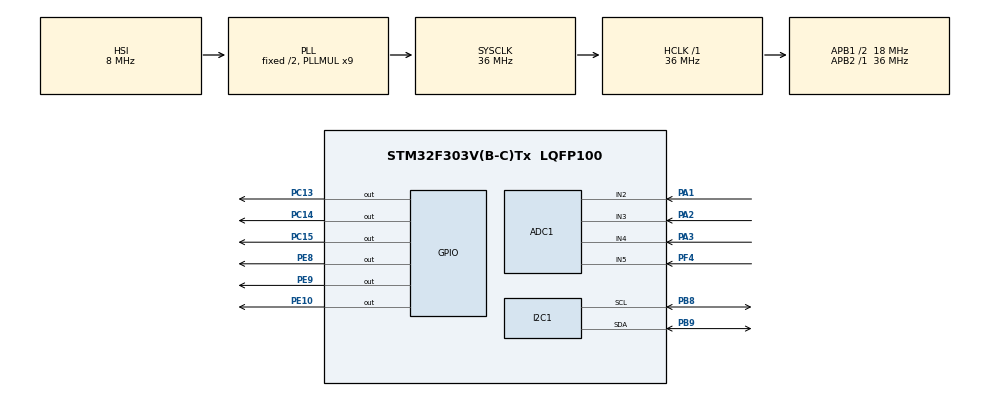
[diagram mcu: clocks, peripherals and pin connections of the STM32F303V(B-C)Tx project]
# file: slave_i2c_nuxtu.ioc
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ADC1.Channel-0\#ChannelRegularConversion=ADC_CHANNEL_2
ADC1.Channel-1\#ChannelRegularConversion=ADC_CHANNEL_3
ADC1.Channel-2\#ChannelRegularConversion=ADC_CHANNEL_4
ADC1.Channel-3\#ChannelRegularConversion=ADC_CHANNEL_5
ADC1.Channel-4\#ChannelRegularConversion=ADC_CHANNEL_TEMPSENSOR
ADC1.ContinuousConvMode=ENABLE
ADC1.DMAContinuousRequests=DISABLE
ADC1.NbrOfConversion=5
ADC1.NbrOfConversionFlag=1
ADC1.Offset-0\#ChannelRegularConversion=0
ADC1.Offset-1\#ChannelRegularConversion=0
ADC1.Offset-2\#ChannelRegularConversion=0
ADC1.Offset-3\#ChannelRegularConversion=0
ADC1.Offset-4\#ChannelRegularConversion=0
ADC1.OffsetNumber-0\#ChannelRegularConversion=ADC_OFFSET_NONE
ADC1.OffsetNumber-1\#ChannelRegularConversion=ADC_OFFSET_NONE
ADC1.OffsetNumber-2\#ChannelRegularConversion=ADC_OFFSET_NONE
ADC1.OffsetNumber-3\#ChannelRegularConversion=ADC_OFFSET_NONE
ADC1.OffsetNumber-4\#ChannelRegularConversion=ADC_OFFSET_NONE
ADC1.Rank-0\#ChannelRegularConversion=1
ADC1.Rank-1\#ChannelRegularConversion=2
ADC1.Rank-2\#ChannelRegularConversion=3
ADC1.Rank-3\#ChannelRegularConversion=4
ADC1.Rank-4\#ChannelRegularConversion=5
ADC1.SamplingTime-0\#ChannelRegularConversion=ADC_SAMPLETIME_7CYCLES_5
ADC1.SamplingTime-1\#ChannelRegularConversion=ADC_SAMPLETIME_7CYCLES_5
ADC1.SamplingTime-2\#ChannelRegularConversion=ADC_SAMPLETIME_7CYCLES_5
ADC1.SamplingTime-3\#ChannelRegularConversion=ADC_SAMPLETIME_7CYCLES_5
ADC1.SamplingTime-4\#ChannelRegularConversion=ADC_SAMPLETIME_181CYCLES_5
ADC1.master=1
Dma.ADC1.0.Direction=DMA_PERIPH_TO_MEMORY
Dma.ADC1.0.Instance=DMA1_Channel1
Dma.ADC1.0.MemDataAlignment=DMA_MDATAALIGN_WORD
Dma.ADC1.0.MemInc=DMA_MINC_ENABLE
Dma.ADC1.0.Mode=DMA_CIRCULAR
Dma.ADC1.0.PeriphDataAlignment=DMA_PDATAALIGN_WORD
Dma.ADC1.0.PeriphInc=DMA_PINC_DISABLE
Dma.ADC1.0.Priority=DMA_PRIORITY_LOW
Dma.Request0=ADC1
I2C1.NoStretchMode=I2C_NOSTRETCH_ENABLE
I2C1.OwnAddress=0x0D
Mcu.Family=STM32F3
Mcu.Name=STM32F303V(B-C)Tx
Mcu.Package=LQFP100
NVIC.DMA1_Channel1_IRQn=true\:0\:0\:false\:false\:true\:false\:true
NVIC.I2C1_ER_IRQn=true\:0\:0\:false\:false\:true\:true\:true
NVIC.I2C1_EV_IRQn=true\:0\:0\:false\:false\:true\:true\:true
NVIC.PriorityGroup=NVIC_PRIORITYGROUP_4
PA1.Mode=IN2-Single-Ended
PA1.Signal=ADC1_IN2
PA13.Mode=Serial_Wire
PA13.Signal=SYS_JTMS-SWDIO
PA14.Mode=Serial_Wire
PA14.Signal=SYS_JTCK-SWCLK
PA2.Mode=IN3-Single-Ended
PA2.Signal=ADC1_IN3
PA3.Mode=IN4-Single-Ended
PA3.Signal=ADC1_IN4
PB8.Mode=I2C
PB8.Signal=I2C1_SCL
PB9.Mode=I2C
PB9.Signal=I2C1_SDA
PC13.Signal=GPIO_Output
PC14-OSC32_IN.Signal=GPIO_Output
PC15-OSC32_OUT.Signal=GPIO_Output
PE10.Signal=GPIO_Output
PE8.Signal=GPIO_Output
PE9.Signal=GPIO_Output
PF0-OSC_IN.Mode=HSE-External-Oscillator
PF0-OSC_IN.Signal=RCC_OSC_IN
PF1-OSC_OUT.Mode=HSE-External-Oscillator
PF1-OSC_OUT.Signal=RCC_OSC_OUT
PF4.Mode=IN5-Single-Ended
PF4.Signal=ADC1_IN5
ProjectManager.HeapSize=0x200
ProjectManager.StackSize=0x400
ProjectManager.TargetToolchain=STM32CubeIDE
RCC.AHBFreq_Value=36000000
RCC.APB1CLKDivider=RCC_HCLK_DIV2
RCC.APB1Freq_Value=18000000
RCC.APB1TimFreq_Value=36000000
RCC.APB2Freq_Value=36000000
RCC.APB2TimFreq_Value=36000000
RCC.CortexFreq_Value=36000000
RCC.HCLKFreq_Value=36000000
RCC.HSE_VALUE=8000000
RCC.HSI_VALUE=8000000
RCC.LSE_VALUE=32768
RCC.PLLMUL=RCC_PLL_MUL9
RCC.SYSCLKFreq_VALUE=36000000
RCC.SYSCLKSourceVirtual=RCC_SYSCLKSOURCE_PLLCLK
RCC.USBFreq_Value=36000000
VP_ADC1_TempSens_Input.Mode=IN-TempSens
board=custom

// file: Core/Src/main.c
/* USER CODE BEGIN Header */
/**
  ******************************************************************************
  * @file           : main.c
  * @brief          : Main program body
  ******************************************************************************
  * @attention
  *
  * <h2><center>&copy; Copyright (c) 2022 STMicroelectronics.
  * All rights reserved.</center></h2>
  *
  * This software component is licensed by ST under BSD 3-Clause license,
  * the "License"; You may not use this file except in compliance with the
  * License. You may obtain a copy of the License at:
  *                        opensource.org/licenses/BSD-3-Clause
  *
  ******************************************************************************
  */
/* USER CODE END Header */
#include "main.h"

ADC_HandleTypeDef hadc1;
DMA_HandleTypeDef hdma_adc1;

I2C_HandleTypeDef hi2c1;

/* USER CODE BEGIN PV */

// Define to activate debug mode with GPIO signal on code
//#define DEBUG_MODE

////// STATIC COMMANDS TO REQUEST DATA //////

#define REQUEST_DETECTION 0
#define REQUEST_DEVICE_TYPE 1
#define REQUEST_DEVICE_METADATA_BASIC 2
#define REQUEST_DEVICE_METADATA_COMPLETE 3
#define REQUEST_DEVICE_METADATA_VOLTAGE_DATA 4

////// STATIC INFORMATION ABOUT DEVICE //////

// REQUEST_DETECTION
uint8_t DETECTION_VALUE = 0x00;

// REQUEST_DEVICE_TYPE
uint8_t DEVICE_TYPE = 0x00;

// REQUEST_DEVICE_METADATA_BASIC
uint8_t BASIC_DATA[14] = {0x00, 0x0A, 3, '2','0','/','0','1','/','2','0','2','2', 0x05}; // BASIC_DATA[14] = {PCB_ID[15:8], PCB_ID[7:0], NUMBER_OF_SENSORS, MANUFACTURE_DATE, PCB_CAPABILITES};

// Defines for actual environmental sensors in the system
//#define TEMP
#define PCB_TEMP
//#define HUMD
#define PRES

// REQUEST_DEVICE_METADATA_COMPLETE
#define gas_sensors 3 // at least one gas sensor in the array

float n1_voltage = 0.0; // mV for n1 gas sensor
float n2_voltage = 0.0; // mV for n2 gas sensor
float n3_voltage = 0.0; // mV for n3 gas sensor

typedef struct gas_sensor
{
	unsigned char name[11];
	unsigned char type[14];
	unsigned char main_gas[20];
	uint16_t response_time;
} gas_sensor;

uint8_t COMPLETE_DATA[47*gas_sensors];
uint8_t COMPLETE_DATA1[47];
uint8_t COMPLETE_DATA2[47];
uint8_t COMPLETE_DATA3[47];

// REQUEST_DEVICE_METADATA_VOLTAGE_DATA
#define env_sensors 2 // environmental sensors

float VSENSE = 3.3/4095; // constant to conversions of ADC value to V
float V25 = 0.76; // Voltage of internal temperature sensor at 25°C
float Avg_slope = 0.0025; // V/degC

float pcb_temperature = 0.0; // initialized to return °C of PCB temperature
float temperature = 0.0; // initialized to return °C of environment temperature
float humidity = 0.0; // initialized to return %RH of environment humidity
float pressure = 0.0; // initialized to return kPa of absolute pressure

// OTHER VARIABLES
uint8_t last_command_received = 0;
uint8_t ERROR_CALL = 0;

/* USER CODE END PV */

void SystemClock_Config(void);
static void MX_GPIO_Init(void);
static void MX_DMA_Init(void);
static void MX_ADC1_Init(void);
static void MX_I2C1_Init(void);

/* USER CODE BEGIN 0 */

// function to check address matching
void HAL_I2C_AddrCallback(I2C_HandleTypeDef *hi2c, uint8_t TransferDirection, uint16_t AddrMatchCode)
{
	if ( TransferDirection == I2C_DIRECTION_TRANSMIT ) // Master sends a write instruction
	{
		// read byte sent by master (this is the request information command)
		HAL_I2C_Slave_Seq_Receive_IT(hi2c, &last_command_received, sizeof(last_command_received), I2C_NEXT_FRAME);
	}

	else // Master sends a read instruction
	{
		switch(last_command_received)
		{
			case REQUEST_DETECTION:
			{
				// the master did not request a value, it is just for detection (offset = 0)
				HAL_I2C_Slave_Seq_Transmit_IT(hi2c, &DETECTION_VALUE, sizeof(DETECTION_VALUE), I2C_NEXT_FRAME);
				break;
			}

			case REQUEST_DEVICE_TYPE:
			{
				// SEND DATA
				HAL_I2C_Slave_Seq_Transmit_IT(hi2c, &DEVICE_TYPE, sizeof(DEVICE_TYPE), I2C_NEXT_FRAME);
				break;
			}

			case REQUEST_DEVICE_METADATA_BASIC:
			{
				// SEND DATA
				HAL_I2C_Slave_Seq_Transmit_IT(hi2c, BASIC_DATA, sizeof(BASIC_DATA), I2C_NEXT_FRAME);
				break;
			}

			case REQUEST_DEVICE_METADATA_COMPLETE:
			{
				// SEND DATA FOR EACH GAS SENSOR
				HAL_I2C_Slave_Seq_Transmit_IT(hi2c, COMPLETE_DATA, sizeof(COMPLETE_DATA), I2C_NEXT_FRAME);
				break;
			}

			case REQUEST_DEVICE_METADATA_VOLTAGE_DATA:
			{
				// SEND ENVIRONMENTAL VARIABLES DATA
				HAL_I2C_Slave_Seq_Transmit_IT(hi2c, (uint8_t*)&temperature, 16+4*gas_sensors, I2C_NEXT_FRAME); // treat float values as a buffer to send through I2C
				HAL_I2C_Slave_Seq_Transmit_IT(hi2c, (uint8_t*)&pcb_temperature, 16+4*gas_sensors, I2C_NEXT_FRAME); // treat float values as a buffer to send through I2C
				HAL_I2C_Slave_Seq_Transmit_IT(hi2c, (uint8_t*)&humidity, 16+4*gas_sensors, I2C_NEXT_FRAME); // treat float values as a buffer to send through I2C
				HAL_I2C_Slave_Seq_Transmit_IT(hi2c, (uint8_t*)&pressure, 16+4*gas_sensors, I2C_NEXT_FRAME); // treat float values as a buffer to send through I2C

				// SEND GAS SENSORS VOLTAGES
				HAL_I2C_Slave_Seq_Transmit_IT(hi2c, (uint8_t*)&n1_voltage, 16+4*gas_sensors, I2C_NEXT_FRAME); // treat float values as a buffer to send through I2C
				HAL_I2C_Slave_Seq_Transmit_IT(hi2c, (uint8_t*)&n2_voltage, 16+4*gas_sensors, I2C_NEXT_FRAME); // treat float values as a buffer to send through I2C
				HAL_I2C_Slave_Seq_Transmit_IT(hi2c, (uint8_t*)&n3_voltage, 16+4*gas_sensors, I2C_NEXT_FRAME); // treat float values as a buffer to send through I2C
				break;
			}

			default:
			{
				break;
			}
		}
		last_command_received = 0; // to repeat detection
	}
}

// function to put the slave ready again when listen mode finish
void HAL_I2C_ListenCpltCallback(I2C_HandleTypeDef *hi2c)
{
	HAL_I2C_EnableListen_IT(hi2c); // slave is ready again
}

#ifdef DEBUG_MODE
// function to detect complete reception of information
void HAL_I2C_SlaveRxCpltCallback(I2C_HandleTypeDef *hi2c)
{
	HAL_GPIO_TogglePin(GPIOC, GPIO_PIN_14); // just for quick debug
}

// function to detect complete transmission of information
void HAL_I2C_SlaveTxCpltCallback(I2C_HandleTypeDef *hi2c)
{
	HAL_GPIO_TogglePin(GPIOC, GPIO_PIN_14); // just for quick debug
}

// function to manage i2c errors
void HAL_I2C_ErrorCallback(I2C_HandleTypeDef *hi2c)
{
	if (HAL_I2C_GetError(hi2c) == HAL_I2C_ERROR_AF ) // Error obtained in debug, due to no clock stretching
	{
		ERROR_CALL = 1;
	}
	if (HAL_I2C_GetError(hi2c) == HAL_I2C_ERROR_OVR ) // Error obtained in debug, due to no clock stretching
	{
		ERROR_CALL = 2;
	}
	if (HAL_I2C_GetError(hi2c) == HAL_I2C_ERROR_TIMEOUT ) // Error obtained in debug, due to no clock stretching
	{
		ERROR_CALL = 3;
	}
}
#endif

/* USER CODE END 0 */

int main(void)
{

  /* MCU Configuration--------------------------------------------------------*/

  /* Reset of all peripherals, Initializes the Flash interface and the Systick. */
  HAL_Init();

  /* Configure the system clock */
  SystemClock_Config();

  /* Initialize all configured peripherals */
  MX_GPIO_Init();
  MX_DMA_Init();
  MX_ADC1_Init();
  MX_I2C1_Init();
  /* USER CODE BEGIN 2 */

  HAL_I2C_EnableListen_IT(&hi2c1); // to activate the slave mode of I2C

  #ifdef DEBUG_MODE
  HAL_GPIO_WritePin(GPIOC, GPIO_PIN_13, RESET);
  HAL_GPIO_WritePin(GPIOC, GPIO_PIN_14, RESET);
  HAL_GPIO_WritePin(GPIOC, GPIO_PIN_15, RESET);

  HAL_GPIO_WritePin(GPIOE, GPIO_PIN_8, RESET);
  HAL_GPIO_WritePin(GPIOE, GPIO_PIN_9, RESET);
  HAL_GPIO_WritePin(GPIOE, GPIO_PIN_10, RESET);
  #endif

  uint8_t total_adc_sensors = env_sensors + gas_sensors; // total ADC channels to be used for analog sensors

  uint32_t adc_values[total_adc_sensors]; // to store all read ADC values, in channel name order (channel1 -> adc[0], ..., temp -> adc[total-1])

  //PA1 -> pressure
  //PA2 -> FEC
  //PA3 -> CO
  //PF4 -> 4-NOC

  HAL_ADC_Start_DMA(&hadc1, adc_values, sizeof(adc_values)); // start the ADC in DMA mode

  gas_sensor N1 = {"FECS40-1000", "Electroquimico", "Monoxido de carbono", 30};
  gas_sensor N2 = {"CO-CE-10000", "Electroquimico", "Monoxido de carbono", 75};
  gas_sensor N3 = {"4-NO2-20000", "Electroquimico", "Dioxido de nitrogeno", 60};
  gas_sensor N4 = {"X-XXX-XXXXX", "XXXXXXXXXXXXX", "XXXXXXXXXXXXXXXXXXX", 0}; // dummy value

  int i = 0;
  for (int k = 0; k < 11; k++)
  {
	  COMPLETE_DATA1[i] = N1.name[k];
	  i++;
  }
  for (int k = 0; k < 14; k++)
  {
	  COMPLETE_DATA1[i] = N1.type[k];
	  i++;
  }
  for (int k = 0; k < 20; k++)
  {
	  COMPLETE_DATA1[i] = N1.main_gas[k];
	  i++;
  }

  COMPLETE_DATA1[i] =  (N1.response_time >> 8) & 0xFF;
  i++;
  COMPLETE_DATA1[i] = (N1.response_time) & 0xFF;

  i = 0;
  for (int k = 0; k < 11; k++)
  {
	  COMPLETE_DATA2[i] = N2.name[k];
	  i++;
  }
  for (int k = 0; k < 14; k++)
  {
	  COMPLETE_DATA2[i] = N2.type[k];
	  i++;
  }
  for (int k = 0; k < 20; k++)
  {
	  COMPLETE_DATA2[i] = N2.main_gas[k];
	  i++;
  }

  COMPLETE_DATA2[i] = (N2.response_time >> 8) & 0xFF;
  i++;
  COMPLETE_DATA2[i] = (N2.response_time) & 0xFF;

  i = 0;
  for (int k = 0; k < 11; k++)
  {
	  COMPLETE_DATA3[i] = N3.name[k];
	  i++;
  }
  for (int k = 0; k < 14; k++)
  {
	  COMPLETE_DATA3[i] = N3.type[k];
	  i++;
  }
  for (int k = 0; k < 20; k++)
  {
	  COMPLETE_DATA3[i] = N3.main_gas[k];
	  i++;
  }

  COMPLETE_DATA3[i] =  (N3.response_time >> 8) & 0xFF;
  i++;
  COMPLETE_DATA3[i] =  (N3.response_time) & 0xFF;

  int j = 0;
  for (int i = 0; i < 47; i++)
  {
	  COMPLETE_DATA[j] = COMPLETE_DATA1[i];
	  j++;
  }
  for (int i = 0; i < 47; i++)
  {
	  COMPLETE_DATA[j] = COMPLETE_DATA2[i];
	  j++;
  }
  for (int i = 0; i < 47; i++)
  {
	  COMPLETE_DATA[j] = COMPLETE_DATA3[i];
	  j++;
  }

  /* USER CODE END 2 */

  /* Infinite loop */
  /* USER CODE BEGIN WHILE */
  while (1)
  {
	  ////// COMPUTATION OF ENVIRONMENTAL VALUES //////

	  #ifdef TEMP
	  temperature = -66.875 + 218.75*(adc_values[0]/4095); // formula taken from datasheet of SHT31-ARP-B pag.8 (°C -45 -> +125)
	  #endif

	  #ifdef HUMD
	  humidity = -12.5 + 125*(adc_values[1]/4095); // formula taken from datasheet of SHT31-ARP-B pag.8 (%RH 0 -> 100)
	  #endif

	  #ifdef PRES
	  pressure = ((adc_values[0]/4095) - 0.05069)/0.00293; // formula derived from datasheet of KP229E2701 pag.12
	  #endif

	  #ifdef PCB_TEMP
	  pcb_temperature = ((V25 - adc_values[total_adc_sensors-1]*VSENSE)/ Avg_slope) + 25; // formula taken from reference manual of STM32F303VCT6 pag.373
	  #endif

	  ////// COMPUTATION OF GAS SENSORS VOLTAGES //////

	  n1_voltage = adc_values[1]*VSENSE*1000; // mV from n_1 gas sensor
	  n2_voltage = adc_values[2]*VSENSE*1000; // mV from n_2 gas sensor
	  n3_voltage = adc_values[3]*VSENSE*1000; // mV from n_3 gas sensor

	  #ifdef DEBUG_MODE
	  HAL_GPIO_TogglePin(GPIOE, GPIO_PIN_8); // blink led to know that main program is running
	  #endif

	  HAL_Delay(50); // dummy delay, can be changed to a strategy to compute ADC values with callback

    /* USER CODE END WHILE */

  }
}

void SystemClock_Config(void)
{
  RCC_OscInitTypeDef RCC_OscInitStruct = {0};
  RCC_ClkInitTypeDef RCC_ClkInitStruct = {0};
  RCC_PeriphCLKInitTypeDef PeriphClkInit = {0};

  /** Initializes the RCC Oscillators according to the specified parameters
  * in the RCC_OscInitTypeDef structure.
  */
  RCC_OscInitStruct.OscillatorType = RCC_OSCILLATORTYPE_HSI;
  RCC_OscInitStruct.HSIState = RCC_HSI_ON;
  RCC_OscInitStruct.HSICalibrationValue = RCC_HSICALIBRATION_DEFAULT;
  RCC_OscInitStruct.PLL.PLLState = RCC_PLL_ON;
  RCC_OscInitStruct.PLL.PLLSource = RCC_PLLSOURCE_HSI;
  RCC_OscInitStruct.PLL.PLLMUL = RCC_PLL_MUL9;
  if (HAL_RCC_OscConfig(&RCC_OscInitStruct) != HAL_OK)
  {
    Error_Handler();
  }
  /** Initializes the CPU, AHB and APB buses clocks
  */
  RCC_ClkInitStruct.ClockType = RCC_CLOCKTYPE_HCLK|RCC_CLOCKTYPE_SYSCLK
                              |RCC_CLOCKTYPE_PCLK1|RCC_CLOCKTYPE_PCLK2;
  RCC_ClkInitStruct.SYSCLKSource = RCC_SYSCLKSOURCE_PLLCLK;
  RCC_ClkInitStruct.AHBCLKDivider = RCC_SYSCLK_DIV1;
  RCC_ClkInitStruct.APB1CLKDivider = RCC_HCLK_DIV2;
  RCC_ClkInitStruct.APB2CLKDivider = RCC_HCLK_DIV1;

  if (HAL_RCC_ClockConfig(&RCC_ClkInitStruct, FLASH_LATENCY_1) != HAL_OK)
  {
    Error_Handler();
  }
  PeriphClkInit.PeriphClockSelection = RCC_PERIPHCLK_I2C1|RCC_PERIPHCLK_ADC12;
  PeriphClkInit.Adc12ClockSelection = RCC_ADC12PLLCLK_DIV1;
  PeriphClkInit.I2c1ClockSelection = RCC_I2C1CLKSOURCE_HSI;
  if (HAL_RCCEx_PeriphCLKConfig(&PeriphClkInit) != HAL_OK)
  {
    Error_Handler();
  }
}

static void MX_ADC1_Init(void)
{

  ADC_MultiModeTypeDef multimode = {0};
  ADC_ChannelConfTypeDef sConfig = {0};

  /** Common config
  */
  hadc1.Instance = ADC1;
  hadc1.Init.ClockPrescaler = ADC_CLOCK_ASYNC_DIV1;
  hadc1.Init.Resolution = ADC_RESOLUTION_12B;
  hadc1.Init.ScanConvMode = ADC_SCAN_ENABLE;
  hadc1.Init.ContinuousConvMode = ENABLE;
  hadc1.Init.DiscontinuousConvMode = DISABLE;
  hadc1.Init.ExternalTrigConvEdge = ADC_EXTERNALTRIGCONVEDGE_NONE;
  hadc1.Init.ExternalTrigConv = ADC_SOFTWARE_START;
  hadc1.Init.DataAlign = ADC_DATAALIGN_RIGHT;
  hadc1.Init.NbrOfConversion = 5;
  hadc1.Init.DMAContinuousRequests = ENABLE;
  hadc1.Init.EOCSelection = ADC_EOC_SINGLE_CONV;
  hadc1.Init.LowPowerAutoWait = DISABLE;
  hadc1.Init.Overrun = ADC_OVR_DATA_OVERWRITTEN;
  if (HAL_ADC_Init(&hadc1) != HAL_OK)
  {
    Error_Handler();
  }
  /** Configure the ADC multi-mode
  */
  multimode.Mode = ADC_MODE_INDEPENDENT;
  if (HAL_ADCEx_MultiModeConfigChannel(&hadc1, &multimode) != HAL_OK)
  {
    Error_Handler();
  }
  /** Configure Regular Channel
  */
  sConfig.Channel = ADC_CHANNEL_2;
  sConfig.Rank = ADC_REGULAR_RANK_1;
  sConfig.SingleDiff = ADC_SINGLE_ENDED;
  sConfig.SamplingTime = ADC_SAMPLETIME_1CYCLE_5;
  sConfig.OffsetNumber = ADC_OFFSET_NONE;
  sConfig.Offset = 0;
  if (HAL_ADC_ConfigChannel(&hadc1, &sConfig) != HAL_OK)
  {
    Error_Handler();
  }
  /** Configure Regular Channel
  */
  sConfig.Channel = ADC_CHANNEL_3;
  sConfig.Rank = ADC_REGULAR_RANK_2;
  if (HAL_ADC_ConfigChannel(&hadc1, &sConfig) != HAL_OK)
  {
    Error_Handler();
  }
  /** Configure Regular Channel
  */
  sConfig.Channel = ADC_CHANNEL_4;
  sConfig.Rank = ADC_REGULAR_RANK_3;
  if (HAL_ADC_ConfigChannel(&hadc1, &sConfig) != HAL_OK)
  {
    Error_Handler();
  }
  /** Configure Regular Channel
  */
  sConfig.Channel = ADC_CHANNEL_5;
  sConfig.Rank = ADC_REGULAR_RANK_4;
  if (HAL_ADC_ConfigChannel(&hadc1, &sConfig) != HAL_OK)
  {
    Error_Handler();
  }
  /** Configure Regular Channel
  */
  sConfig.Channel = ADC_CHANNEL_TEMPSENSOR;
  sConfig.Rank = ADC_REGULAR_RANK_5;
  sConfig.SamplingTime = ADC_SAMPLETIME_601CYCLES_5;
  if (HAL_ADC_ConfigChannel(&hadc1, &sConfig) != HAL_OK)
  {
    Error_Handler();
  }

}

static void MX_I2C1_Init(void)
{

  hi2c1.Instance = I2C1;
  hi2c1.Init.Timing = 0x2000090E;
  hi2c1.Init.OwnAddress1 = 26;
  hi2c1.Init.AddressingMode = I2C_ADDRESSINGMODE_7BIT;
  hi2c1.Init.DualAddressMode = I2C_DUALADDRESS_DISABLE;
  hi2c1.Init.OwnAddress2 = 0;
  hi2c1.Init.OwnAddress2Masks = I2C_OA2_NOMASK;
  hi2c1.Init.GeneralCallMode = I2C_GENERALCALL_DISABLE;
  hi2c1.Init.NoStretchMode = I2C_NOSTRETCH_DISABLE;
  if (HAL_I2C_Init(&hi2c1) != HAL_OK)
  {
    Error_Handler();
  }
  /** Configure Analogue filter
  */
  if (HAL_I2CEx_ConfigAnalogFilter(&hi2c1, I2C_ANALOGFILTER_ENABLE) != HAL_OK)
  {
    Error_Handler();
  }
  /** Configure Digital filter
  */
  if (HAL_I2CEx_ConfigDigitalFilter(&hi2c1, 0) != HAL_OK)
  {
    Error_Handler();
  }

}

static void MX_DMA_Init(void)
{

  /* DMA controller clock enable */
  __HAL_RCC_DMA1_CLK_ENABLE();

  /* DMA interrupt init */
  /* DMA1_Channel1_IRQn interrupt configuration */
  HAL_NVIC_SetPriority(DMA1_Channel1_IRQn, 0, 0);
  HAL_NVIC_EnableIRQ(DMA1_Channel1_IRQn);

}

static void MX_GPIO_Init(void)
{
  GPIO_InitTypeDef GPIO_InitStruct = {0};

  /* GPIO Ports Clock Enable */
  __HAL_RCC_GPIOC_CLK_ENABLE();
  __HAL_RCC_GPIOF_CLK_ENABLE();
  __HAL_RCC_GPIOA_CLK_ENABLE();
  __HAL_RCC_GPIOE_CLK_ENABLE();
  __HAL_RCC_GPIOB_CLK_ENABLE();

  /*Configure GPIO pin Output Level */
  HAL_GPIO_WritePin(GPIOC, GPIO_PIN_13|GPIO_PIN_14|GPIO_PIN_15, GPIO_PIN_RESET);

  /*Configure GPIO pin Output Level */
  HAL_GPIO_WritePin(GPIOE, GPIO_PIN_8|GPIO_PIN_9|GPIO_PIN_10, GPIO_PIN_RESET);

  /*Configure GPIO pins : PC13 PC14 PC15 */
  GPIO_InitStruct.Pin = GPIO_PIN_13|GPIO_PIN_14|GPIO_PIN_15;
  GPIO_InitStruct.Mode = GPIO_MODE_OUTPUT_PP;
  GPIO_InitStruct.Pull = GPIO_NOPULL;
  GPIO_InitStruct.Speed = GPIO_SPEED_FREQ_LOW;
  HAL_GPIO_Init(GPIOC, &GPIO_InitStruct);

  /*Configure GPIO pins : PE8 PE9 PE10 */
  GPIO_InitStruct.Pin = GPIO_PIN_8|GPIO_PIN_9|GPIO_PIN_10;
  GPIO_InitStruct.Mode = GPIO_MODE_OUTPUT_PP;
  GPIO_InitStruct.Pull = GPIO_NOPULL;
  GPIO_InitStruct.Speed = GPIO_SPEED_FREQ_LOW;
  HAL_GPIO_Init(GPIOE, &GPIO_InitStruct);

}

void Error_Handler(void)
{
}

/************************ (C) COPYRIGHT STMicroelectronics *****END OF FILE****/
